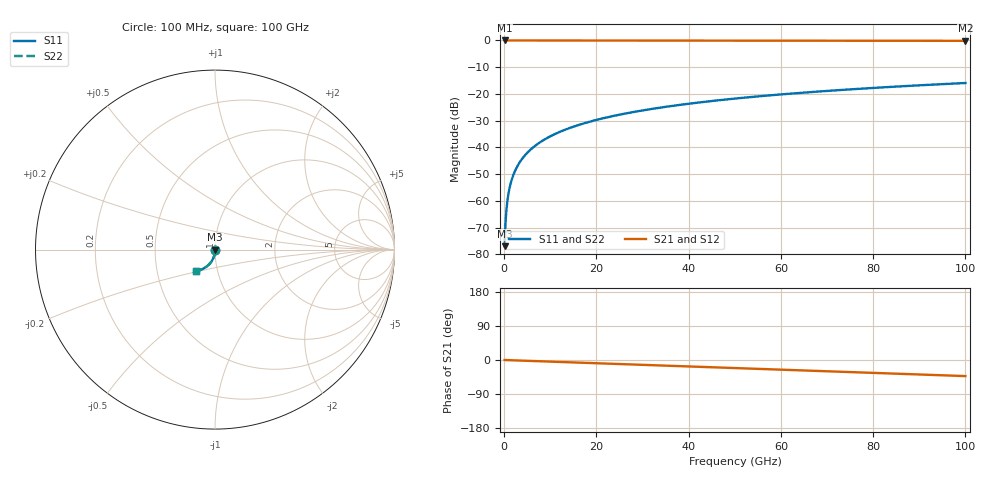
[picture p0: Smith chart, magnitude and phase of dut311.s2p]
! Touchstone file exported from HFSS 2026.1.0
!  File:  C:/ffzhzh/LocalFiles/Ansys_Project_Files/temp_train_TSV_311_1783509332_41296.aedt
!  Generated:  07:16:40 PM Jul  8, 2026
!  Design:  TSV
!  Project:  temp_train_TSV_311_1783509332_41296
! Variables:
!  h_bsmrdl = 2um
!  h_ox = 20um
!  h_rdl = 5um
!  h_sub = 84.72um
!  h_tmrdl = 5um
!  h_tsv = 84.72um
!  h_via = 3um
!  l_bsmrdl = 300um
!  l_sub = 429.28um
!  l_tmrdl = 200um
!  m_sub = 200um
!  pitch = 47.7um
!  r_tsv = 14.64um
!  s_tmrdl = 10um
!  w_bsmrdl = 18um
!  w_sub = 500um
!  w_tmrdl = 12um
!  x_tsv_center1 = 206um
!  x_tsv_center2 = 524um
!  x_tsv_center3 = 736um
!  x_tsv_center4 = 1054um
!  x_tsv_center5 = 1266um
!  x_tsv_center6 = 1584um
# GHz S MA R 50.000000
! Terminal data exported
! Port[1] = TSV1_1_T1
! Port[2] = TSV1_1_T2
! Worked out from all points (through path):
!   1000 points, 100 MHz to 100 GHz, reference 50 ohm
!   highest |S21| = 0.00 dB at 100 MHz (marker M1); lowest = -0.1 dB at 100 GHz (marker M2)
!   group delay of S21, straight-line fit = 1.18 ps
!   lowest |S11| = -76.9 dB at 100 MHz (marker M3), VSWR 1.00, Z = 50 - j0.0118 ohm
!   |S11| at or under -10 dB: start of sweep to end of sweep
!   |S22| runs from -76.9 to -15.9 dB; largest |S21 - S12| = 4.6e-15
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0.1  0.0001422 -56.4  0.9999 -0.0  0.9999 -0.0  0.0001422 -56.4
! Gamma 0 0 0 0
! Port Impedance 50 0 50 0
0.4  0.0005379 -74.7  0.9999 -0.2  0.9999 -0.2  0.0005379 -74.7
0.7  0.0009961 -78.5  0.9998 -0.3  0.9998 -0.3  0.0009961 -78.5
0.8  0.001153 -79.4  0.9998 -0.4  0.9998 -0.4  0.001153 -79.4
1  0.001468 -80.9  0.9998 -0.4  0.9998 -0.4  0.001468 -80.9
1.3  0.001942 -82.4  0.9997 -0.6  0.9997 -0.6  0.001942 -82.4
1.7  0.002576 -83.8  0.9997 -0.7  0.9997 -0.7  0.002576 -83.8
2.3  0.003532 -85.1  0.9996 -1.0  0.9996 -1.0  0.003532 -85.1
2.9  0.004497 -86.1  0.9996 -1.3  0.9996 -1.3  0.004497 -86.1
3.7  0.005793 -87.0  0.9995 -1.6  0.9995 -1.6  0.005793 -87.0
4.7  0.007423 -88.0  0.9995 -2.0  0.9995 -2.0  0.007423 -88.0
5.8  0.009222 -88.9  0.9994 -2.5  0.9994 -2.5  0.009221 -88.9
8.6  0.01382 -90.8  0.9992 -3.7  0.9992 -3.7  0.01382 -90.8
12.2  0.01975 -92.7  0.9989 -5.2  0.9989 -5.2  0.01975 -92.7
16.8  0.02735 -95.1  0.9986 -7.2  0.9986 -7.2  0.02735 -95.1
24.2  0.03957 -98.6  0.998 -10.3  0.998 -10.3  0.03957 -98.6
33.4  0.05472 -102.8  0.9971 -14.2  0.9971 -14.2  0.05472 -102.8
41.2  0.06751 -106.2  0.9961 -17.5  0.9961 -17.5  0.06751 -106.2
50.1  0.08199 -110.1  0.9948 -21.3  0.9948 -21.3  0.08199 -110.1
66.7  0.1086 -117.3  0.9919 -28.3  0.9919 -28.3  0.1086 -117.3
83.4  0.1348 -124.6  0.9883 -35.4  0.9883 -35.4  0.1348 -124.6
100  0.16 -131.8  0.9841 -42.5  0.9841 -42.5  0.16 -131.8
